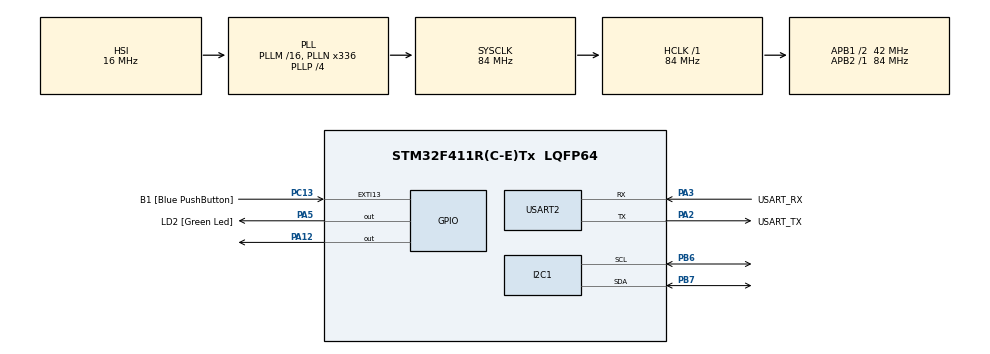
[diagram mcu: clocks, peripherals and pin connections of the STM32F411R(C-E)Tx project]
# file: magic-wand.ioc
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Mcu.Family=STM32F4
Mcu.Name=STM32F411R(C-E)Tx
Mcu.Package=LQFP64
NVIC.PriorityGroup=NVIC_PRIORITYGROUP_0
PA12.Signal=GPIO_Output
PA13.GPIO_Label=TMS
PA13.Mode=Serial_Wire
PA13.Signal=SYS_JTMS-SWDIO
PA14.GPIO_Label=TCK
PA14.Mode=Serial_Wire
PA14.Signal=SYS_JTCK-SWCLK
PA2.GPIO_Label=USART_TX
PA2.Mode=Asynchronous
PA2.Signal=USART2_TX
PA3.GPIO_Label=USART_RX
PA3.Mode=Asynchronous
PA3.Signal=USART2_RX
PA5.GPIO_Label=LD2 [Green Led]
PA5.Signal=GPIO_Output
PB3.GPIO_Label=SWO
PB3.Signal=SYS_JTDO-SWO
PB6.Mode=I2C
PB6.Signal=I2C1_SCL
PB7.Mode=I2C
PB7.Signal=I2C1_SDA
PC13-ANTI_TAMP.GPIO_Label=B1 [Blue PushButton]
PC13-ANTI_TAMP.GPIO_ModeDefaultEXTI=GPIO_MODE_IT_FALLING
PC13-ANTI_TAMP.Signal=GPXTI13
PC14-OSC32_IN.Mode=LSE-External-Oscillator
PC14-OSC32_IN.Signal=RCC_OSC32_IN
PC15-OSC32_OUT.Mode=LSE-External-Oscillator
PC15-OSC32_OUT.Signal=RCC_OSC32_OUT
PH0\ -\ OSC_IN.Mode=HSE-External-Clock-Source
PH0\ -\ OSC_IN.Signal=RCC_OSC_IN
PH1\ -\ OSC_OUT.Mode=HSE-External-Clock-Source
PH1\ -\ OSC_OUT.Signal=RCC_OSC_OUT
ProjectManager.HeapSize=0x200
ProjectManager.StackSize=0x400
ProjectManager.TargetToolchain=STM32CubeIDE
RCC.48MHZClocksFreq_Value=84000000
RCC.AHBFreq_Value=84000000
RCC.APB1CLKDivider=RCC_HCLK_DIV2
RCC.APB1Freq_Value=42000000
RCC.APB1TimFreq_Value=84000000
RCC.APB2Freq_Value=84000000
RCC.APB2TimFreq_Value=84000000
RCC.CortexFreq_Value=84000000
RCC.FLatency-AdvancedSettings=FLASH_LATENCY_2
RCC.HCLKFreq_Value=84000000
RCC.HSE_VALUE=8000000
RCC.HSI_VALUE=16000000
RCC.PLLN=336
RCC.PLLP=RCC_PLLP_DIV4
RCC.SYSCLKFreq_VALUE=84000000
RCC.SYSCLKSource=RCC_SYSCLKSOURCE_PLLCLK
RCC.VCOOutputFreq_Value=336000000
USART2.VirtualMode=VM_ASYNC
board=NUCLEO-F411RE

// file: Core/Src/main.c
/* USER CODE BEGIN Header */
/**
 ******************************************************************************
 * @file           : main.c
 * @brief          : Main program body
 ******************************************************************************
 * @attention
 *
 * Copyright (c) 2025 STMicroelectronics.
 * All rights reserved.
 *
 * This software is licensed under terms that can be found in the LICENSE file
 * in the root directory of this software component.
 * If no LICENSE file comes with this software, it is provided AS-IS.
 *
 ******************************************************************************
 */
/* USER CODE END Header */
#include "main.h"
#include <stdio.h>
#include <string.h>
/* USER CODE BEGIN Includes */
#include "NanoEdgeAI.h"
#include "knowledge.h"
#include "driver_mpu9250.h"
#include "driver_mpu9250_interface.h"
/* USER CODE END Includes */

/* USER CODE BEGIN PTD */
typedef union
{
  int16_t i16bit[3];
  uint8_t u8bit[6];
} axis3bit16_t;
/* USER CODE END PTD */

/* USER CODE BEGIN PD */
float Ax, Ay, Az, Gx, Gy, Gz;
/* USER CODE END PD */

/* USER CODE BEGIN PM */
#define MPU9250_ADDR MPU9250_ADDRESS_AD0_HIGH
#define MPU9250_REG_WHO_AM_I 0x75U
#define MAX_RAW_SAMPLES 1000U
/* USER CODE END PM */

I2C_HandleTypeDef hi2c1;

UART_HandleTypeDef huart2;

/* USER CODE BEGIN PV */
/* NanoEdgeAI Variables */
uint16_t id_class = 0;                                  // Point to id class (see argument of neai_classification fct)
float input_user_buffer[DATA_INPUT_USER * AXIS_NUMBER]; // Buffer of input values
float output_class_buffer[CLASS_NUMBER];                // Buffer of class probabilities
const char *id2class[CLASS_NUMBER + 1] = {
    // Buffer for mapping class id to class name
    "unknown",
    "up_down_formatted",
    "right_left_formatted",
    "left_right_simon_formatted",
};

/* Data Collection Variables */
float raw_data[MAX_RAW_SAMPLES * AXIS_NUMBER];
uint16_t raw_count = 0;

/* USER CODE END PV */

void SystemClock_Config(void);
static void MX_GPIO_Init(void);
static void MX_USART2_UART_Init(void);
static void MX_I2C1_Init(void);
/* USER CODE BEGIN PFP */
static void normalize_buffer(float *source, uint16_t source_len, float *dest, uint16_t dest_len);
static void MPU9250_Init(void);
static void MPU9250_Print_WhoAmI(void);
static uint8_t MPU9250_ReadRaw(void);
/* USER CODE END PFP */

/* USER CODE BEGIN 0 */
static mpu9250_handle_t s_mpu9250_handle;

static void normalize_buffer(float *source, uint16_t source_len, float *dest, uint16_t dest_len)
{
  if (source_len == 0 || dest_len == 0)
    return;

  for (int i = 0; i < dest_len; i++)
  {
    // Calculate the floating point index in the source array
    float pos = (float)i * (source_len - 1) / (dest_len - 1);
    int idx = (int)pos;
    float frac = pos - idx;

    // Interpolate for all axes
    for (int axis = 0; axis < AXIS_NUMBER; axis++)
    {
      float val0 = source[idx * AXIS_NUMBER + axis];
      float val1 = val0;
      if ((idx + 1) < source_len)
      {
        val1 = source[(idx + 1) * AXIS_NUMBER + axis];
      }

      dest[i * AXIS_NUMBER + axis] = val0 + frac * (val1 - val0);
    }
  }
}

static void MPU9250_Print_WhoAmI(void)
{
  uint8_t who_am_i = 0U;

  (void)mpu9250_interface_iic_init();
  if (mpu9250_interface_iic_read(MPU9250_ADDR,
                                 MPU9250_REG_WHO_AM_I,
                                 &who_am_i,
                                 1U) != 0U)
  {
    const char *msg = "MPU9250: WHO_AM_I read failed\r\n";
    HAL_UART_Transmit(&huart2, (uint8_t *)msg, strlen(msg), HAL_MAX_DELAY);

    return;
  }

  char buffer[64];
  int len = snprintf(buffer,
                     sizeof(buffer),
                     "MPU9250 WHO_AM_I = 0x%02X\r\n",
                     who_am_i);
  HAL_UART_Transmit(&huart2, (uint8_t *)buffer, (uint16_t)len, HAL_MAX_DELAY);
}

static void MPU9250_Init(void)
{
  DRIVER_MPU9250_LINK_INIT(&s_mpu9250_handle, mpu9250_handle_t);
  DRIVER_MPU9250_LINK_IIC_INIT(&s_mpu9250_handle, mpu9250_interface_iic_init);
  DRIVER_MPU9250_LINK_IIC_DEINIT(&s_mpu9250_handle, mpu9250_interface_iic_deinit);
  DRIVER_MPU9250_LINK_IIC_READ(&s_mpu9250_handle, mpu9250_interface_iic_read);
  DRIVER_MPU9250_LINK_IIC_WRITE(&s_mpu9250_handle, mpu9250_interface_iic_write);
  DRIVER_MPU9250_LINK_SPI_INIT(&s_mpu9250_handle, mpu9250_interface_spi_init);
  DRIVER_MPU9250_LINK_SPI_DEINIT(&s_mpu9250_handle, mpu9250_interface_spi_deinit);
  DRIVER_MPU9250_LINK_SPI_READ(&s_mpu9250_handle, mpu9250_interface_spi_read);
  DRIVER_MPU9250_LINK_SPI_WRITE(&s_mpu9250_handle, mpu9250_interface_spi_write);
  DRIVER_MPU9250_LINK_DELAY_MS(&s_mpu9250_handle, mpu9250_interface_delay_ms);
  DRIVER_MPU9250_LINK_DEBUG_PRINT(&s_mpu9250_handle, mpu9250_interface_debug_print);
  DRIVER_MPU9250_LINK_RECEIVE_CALLBACK(&s_mpu9250_handle, mpu9250_interface_receive_callback);

  if (mpu9250_set_interface(&s_mpu9250_handle, MPU9250_INTERFACE_IIC) != 0 ||
      mpu9250_set_addr_pin(&s_mpu9250_handle, MPU9250_ADDR) != 0)
  {
    const char *msg = "MPU9250: interface config failed\r\n";
    HAL_UART_Transmit(&huart2, (uint8_t *)msg, strlen(msg), HAL_MAX_DELAY);
    Error_Handler();
  }

  if (mpu9250_init(&s_mpu9250_handle) != 0)
  {
    const char *msg = "MPU9250: init failed\r\n";
    HAL_UART_Transmit(&huart2, (uint8_t *)msg, strlen(msg), HAL_MAX_DELAY);
    Error_Handler();
  }

  /* Example configuration: 1 kHz / (1 + div) = 166 Hz (matches 906 samples ≈5.4 s) */
  (void)mpu9250_set_sample_rate_divider(&s_mpu9250_handle, 5);
  (void)mpu9250_set_low_pass_filter(&s_mpu9250_handle, MPU9250_LOW_PASS_FILTER_3);
  (void)mpu9250_set_accelerometer_range(&s_mpu9250_handle, MPU9250_ACCELEROMETER_RANGE_2G);
  (void)mpu9250_set_gyroscope_range(&s_mpu9250_handle, MPU9250_GYROSCOPE_RANGE_250DPS);

}

static uint8_t MPU9250_ReadRaw(void)
{
  int16_t accel_raw[1][3];
  float accel_g[1][3];
  int16_t gyro_raw[1][3];
  float gyro_dps[1][3];
  int16_t mag_raw[1][3];
  float mag_ut[1][3];
  uint16_t len = 1;

  if (mpu9250_read(&s_mpu9250_handle,
                   accel_raw,
                   accel_g,
                   gyro_raw,
                   gyro_dps,
                   mag_raw,
                   mag_ut,
                   &len) != 0 ||
      len == 0)
  {
    return 1; // Error
  }

  // Use raw integer samples to stay consistent with NanoEdge training data
  Ax = (float)accel_raw[0][0];
  Ay = (float)accel_raw[0][1];
  Az = (float)accel_raw[0][2];
  Gx = (float)gyro_raw[0][0];
  Gy = (float)gyro_raw[0][1];
  Gz = (float)gyro_raw[0][2];

  return 0; // Success
}

/* USER CODE END 0 */

int main(void)
{

  /* MCU Configuration--------------------------------------------------------*/

  /* Reset of all peripherals, Initializes the Flash interface and the Systick. */
  HAL_Init();

  /* Configure the system clock */
  SystemClock_Config();

  /* Initialize all configured peripherals */
  MX_GPIO_Init();
  MX_USART2_UART_Init();
  MX_I2C1_Init();
  /* USER CODE BEGIN 2 */
  MPU9250_Print_WhoAmI();
  MPU9250_Init();

  // Initialize NanoEdge AI with the knowledge buffer
  enum neai_state status = neai_classification_init(knowledge);
  if (status != NEAI_OK)
  {
    char buffer[50];
    int len = snprintf(buffer, sizeof(buffer), "NEAI Init Error: %d\r\n", status);
    HAL_UART_Transmit(&huart2, (uint8_t *)buffer, len, 1000);
  }

  /* USER CODE END 2 */

  /* Infinite loop */
  /* USER CODE BEGIN WHILE */
  const uint32_t poll_interval_ms = 5U;
  GPIO_PinState btn_prev = GPIO_PIN_SET; // Assume button is initially released
  while (1)
  {
    /* USER CODE END WHILE */

    /* USER CODE BEGIN 3 */
    // Read the current state of the User Button (B1)
    // B1 is active Low (GPIO_PIN_RESET when pressed)
    GPIO_PinState btn_curr = HAL_GPIO_ReadPin(B1_GPIO_Port, B1_Pin);

    // 1. Detect the start of a press (Falling Edge: Released -> Pressed)
    if (btn_prev == GPIO_PIN_SET && btn_curr == GPIO_PIN_RESET)
    {
      char *header = "Recording...\r\n";
      HAL_UART_Transmit(&huart2, (uint8_t *)header, strlen(header), HAL_MAX_DELAY);
      raw_count = 0; // Reset counter for new recording
    }

    // 2. Collect data while the button is held down
    if (btn_curr == GPIO_PIN_RESET)
    {
      if (raw_count < MAX_RAW_SAMPLES)
      {
        if (MPU9250_ReadRaw() == 0)
        {
          // Store raw values
          raw_data[raw_count * AXIS_NUMBER + 0] = Ax;
          raw_data[raw_count * AXIS_NUMBER + 1] = Ay;
          raw_data[raw_count * AXIS_NUMBER + 2] = Az;
          raw_data[raw_count * AXIS_NUMBER + 3] = Gx;
          raw_data[raw_count * AXIS_NUMBER + 4] = Gy;
          raw_data[raw_count * AXIS_NUMBER + 5] = Gz;
          raw_count++;
        }
      }
    }

    // 3. Detect the end of a press (Rising Edge: Pressed -> Released)
    if (btn_prev == GPIO_PIN_RESET && btn_curr == GPIO_PIN_SET)
    {
      if (raw_count > 0)
      {
        char buffer[256];

        // Cap to the expected window size (otherwise interpolate up to fit)
        uint16_t samples_to_process = raw_count;
        if (samples_to_process > DATA_INPUT_USER)
        {
          samples_to_process = DATA_INPUT_USER;
        }

        // Clear any stale data and normalize to the expected DATA_INPUT_USER rows
        for (uint32_t i = 0; i < (DATA_INPUT_USER * AXIS_NUMBER); i++)
        {
          input_user_buffer[i] = 0.0f;
        }
        normalize_buffer(raw_data, samples_to_process, input_user_buffer, DATA_INPUT_USER);

        // Run Classification
        enum neai_state cls_status = neai_classification(input_user_buffer, output_class_buffer, &id_class);

        if (cls_status != NEAI_OK)
        {
          int len = snprintf(buffer, sizeof(buffer), "NEAI Error: %d\r\n", cls_status);
          HAL_UART_Transmit(&huart2, (uint8_t *)buffer, len, 1000);
        }
        else
        {
          // Note: if raw_count < DATA_INPUT_USER we interpolate up to the model window
          // size so classification still runs on shorter captures.
          if (id_class > 0)
          {
            // Only log the three class probabilities (output buffer is length CLASS_NUMBER)
            int len = snprintf(buffer, sizeof(buffer),
                               "Class: %s (Prob: %.2f) | UpDown=%.2f RightLeft=%.2f LeftRight=%.2f\r\n",
                               id2class[id_class],
                               output_class_buffer[id_class - 1],
                               output_class_buffer[0],
                               output_class_buffer[1],
                               output_class_buffer[2]);
            HAL_UART_Transmit(&huart2, (uint8_t *)buffer, len, 1000);
          }
          else
          {
            int len = snprintf(buffer, sizeof(buffer),
                               "Class: unknown | UpDown=%.2f RightLeft=%.2f LeftRight=%.2f\r\n",
                               output_class_buffer[0],
                               output_class_buffer[1],
                               output_class_buffer[2]);
            HAL_UART_Transmit(&huart2, (uint8_t *)buffer, len, 1000);
          }
        }
      }
    }

    // Update previous state for the next iteration
    btn_prev = btn_curr;

    // Poll delay (acts as a simple debounce)
    HAL_Delay(poll_interval_ms);
  }
  /* USER CODE END 3 */
}

void SystemClock_Config(void)
{
  RCC_OscInitTypeDef RCC_OscInitStruct = {0};
  RCC_ClkInitTypeDef RCC_ClkInitStruct = {0};

  /** Configure the main internal regulator output voltage
   */
  __HAL_RCC_PWR_CLK_ENABLE();
  __HAL_PWR_VOLTAGESCALING_CONFIG(PWR_REGULATOR_VOLTAGE_SCALE1);

  /** Initializes the RCC Oscillators according to the specified parameters
   * in the RCC_OscInitTypeDef structure.
   */
  RCC_OscInitStruct.OscillatorType = RCC_OSCILLATORTYPE_HSI;
  RCC_OscInitStruct.HSIState = RCC_HSI_ON;
  RCC_OscInitStruct.HSICalibrationValue = RCC_HSICALIBRATION_DEFAULT;
  RCC_OscInitStruct.PLL.PLLState = RCC_PLL_ON;
  RCC_OscInitStruct.PLL.PLLSource = RCC_PLLSOURCE_HSI;
  RCC_OscInitStruct.PLL.PLLM = 16;
  RCC_OscInitStruct.PLL.PLLN = 336;
  RCC_OscInitStruct.PLL.PLLP = RCC_PLLP_DIV4;
  RCC_OscInitStruct.PLL.PLLQ = 4;
  if (HAL_RCC_OscConfig(&RCC_OscInitStruct) != HAL_OK)
  {
    Error_Handler();
  }

  /** Initializes the CPU, AHB and APB buses clocks
   */
  RCC_ClkInitStruct.ClockType = RCC_CLOCKTYPE_HCLK | RCC_CLOCKTYPE_SYSCLK | RCC_CLOCKTYPE_PCLK1 | RCC_CLOCKTYPE_PCLK2;
  RCC_ClkInitStruct.SYSCLKSource = RCC_SYSCLKSOURCE_PLLCLK;
  RCC_ClkInitStruct.AHBCLKDivider = RCC_SYSCLK_DIV1;
  RCC_ClkInitStruct.APB1CLKDivider = RCC_HCLK_DIV2;
  RCC_ClkInitStruct.APB2CLKDivider = RCC_HCLK_DIV1;

  if (HAL_RCC_ClockConfig(&RCC_ClkInitStruct, FLASH_LATENCY_2) != HAL_OK)
  {
    Error_Handler();
  }
}

static void MX_I2C1_Init(void)
{

  hi2c1.Instance = I2C1;
  hi2c1.Init.ClockSpeed = 100000;
  hi2c1.Init.DutyCycle = I2C_DUTYCYCLE_2;
  hi2c1.Init.OwnAddress1 = 0;
  hi2c1.Init.AddressingMode = I2C_ADDRESSINGMODE_7BIT;
  hi2c1.Init.DualAddressMode = I2C_DUALADDRESS_DISABLE;
  hi2c1.Init.OwnAddress2 = 0;
  hi2c1.Init.GeneralCallMode = I2C_GENERALCALL_DISABLE;
  hi2c1.Init.NoStretchMode = I2C_NOSTRETCH_DISABLE;
  if (HAL_I2C_Init(&hi2c1) != HAL_OK)
  {
    Error_Handler();
  }
}

static void MX_USART2_UART_Init(void)
{

  huart2.Instance = USART2;
  huart2.Init.BaudRate = 115200;
  huart2.Init.WordLength = UART_WORDLENGTH_8B;
  huart2.Init.StopBits = UART_STOPBITS_1;
  huart2.Init.Parity = UART_PARITY_NONE;
  huart2.Init.Mode = UART_MODE_TX_RX;
  huart2.Init.HwFlowCtl = UART_HWCONTROL_NONE;
  huart2.Init.OverSampling = UART_OVERSAMPLING_16;
  if (HAL_UART_Init(&huart2) != HAL_OK)
  {
    Error_Handler();
  }
}

static void MX_GPIO_Init(void)
{
  GPIO_InitTypeDef GPIO_InitStruct = {0};

  /* GPIO Ports Clock Enable */
  __HAL_RCC_GPIOC_CLK_ENABLE();
  __HAL_RCC_GPIOH_CLK_ENABLE();
  __HAL_RCC_GPIOA_CLK_ENABLE();
  __HAL_RCC_GPIOB_CLK_ENABLE();

  /*Configure GPIO pin Output Level */
  HAL_GPIO_WritePin(GPIOA, LD2_Pin | GPIO_PIN_12, GPIO_PIN_RESET);

  /*Configure GPIO pin : B1_Pin */
  GPIO_InitStruct.Pin = B1_Pin;
  GPIO_InitStruct.Mode = GPIO_MODE_IT_FALLING;
  GPIO_InitStruct.Pull = GPIO_NOPULL;
  HAL_GPIO_Init(B1_GPIO_Port, &GPIO_InitStruct);

  /*Configure GPIO pins : LD2_Pin PA12 */
  GPIO_InitStruct.Pin = LD2_Pin | GPIO_PIN_12;
  GPIO_InitStruct.Mode = GPIO_MODE_OUTPUT_PP;
  GPIO_InitStruct.Pull = GPIO_NOPULL;
  GPIO_InitStruct.Speed = GPIO_SPEED_FREQ_LOW;
  HAL_GPIO_Init(GPIOA, &GPIO_InitStruct);

}

void Error_Handler(void)
{
  __disable_irq();
  while (1)
  {
  }
}
